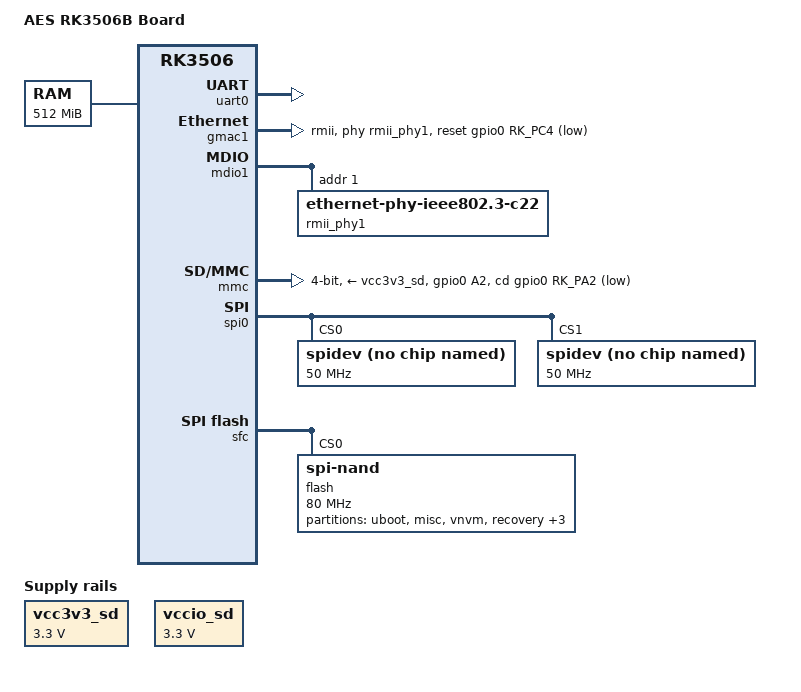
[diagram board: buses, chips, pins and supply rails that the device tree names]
// SPDX-License-Identifier: (GPL-2.0+ OR MIT)
/*
 * Board device tree for the AES RK3506B board (RK3506B SoC, arm32 Cortex-A7).
 * Mainline bring-up: minimal board for earlycon/console on uart0.
 */

/dts-v1/;

#include "rk3506.dtsi"

/ {
	model = "AES RK3506B Board";
	compatible = "aes,rk3506b-aes", "rockchip,rk3506b", "rockchip,rk3506";

	chosen {
		stdout-path = "serial0:1500000n8";
		/* Mount the NAND rootfs (UBI volume "rootfs" on mtd5 — the 6th fixed
		 * partition in the SFC node below) as root; rootwait lets UBI attach
		 * first. `rw` mounts it read-write so writes persist (without it the
		 * kernel mounts the initial root read-only). Harmless for the
		 * initramfs-shell boot variant: if the boot FIT also bundles an
		 * initramfs with /init, the kernel runs that /init and ignores root=. */
		bootargs = "earlycon=uart8250,mmio32,0xff0a0000 console=ttyS0,1500000 ubi.mtd=5 root=ubi0:rootfs rootfstype=ubifs rootwait rw";
	};

	memory@0 {
		device_type = "memory";
		reg = <0x0 0x20000000>;	/* 512 MiB; DRAM base 0x0 (CFG_SYS_SDRAM_BASE=0) */
	};
};

&uart0 {
	status = "okay";
};

/*
 * Ethernet (gmac1, RMII) — the live RJ45 on the AES board (ATK reference:
 * rk3506b-alientek.dtsi). Mainline dwmac-rk has full rk3506 glue (RMII mode +
 * GRF clock regs); the SoC node + eth_rmii1 pinctrl are in rk3506.dtsi. PHY is
 * a generic C22 device at mdio addr 1; reset on GPIO0_PC4 (active-low).
 */
&gmac1 {
	phy-mode = "rmii";
	clock_in_out = "output";

	snps,reset-gpio = <&gpio0 RK_PC4 GPIO_ACTIVE_LOW>;
	snps,reset-active-low;
	snps,reset-delays-us = <0 20000 100000>;

	pinctrl-names = "default";
	pinctrl-0 = <&eth_rmii1_miim_pins
		     &eth_rmii1_tx_bus2_pins
		     &eth_rmii1_rx_bus2_pins
		     &eth_rmii1_clk_pins>;

	phy-handle = <&rmii_phy1>;
	status = "okay";
};

&mdio1 {
	rmii_phy1: phy@1 {
		compatible = "ethernet-phy-ieee802.3-c22";
		reg = <0x1>;
	};
};

/*
 * MMC/SD (dw_mmc) — the SD card slot (ATK reference: rk3506b-alientek.dtsi).
 * Mainline dw_mmc-rockchip probes via the rk3288-dw-mshc fallback compatible.
 * Supplies are always-on fixed 3.3V rails (forge has no PMIC); card-detect on
 * GPIO0_PA2.
 */
&mmc {
	bus-width = <4>;
	cap-sd-highspeed;
	no-1-8-v;

	pinctrl-names = "default";
	pinctrl-0 = <&sdmmc_clk_pins &sdmmc_cmd_pins &sdmmc_bus4_pins &sdmmc_det>;

	cd-gpios = <&gpio0 RK_PA2 GPIO_ACTIVE_LOW>;
	vmmc-supply = <&vcc3v3_sd>;
	vqmmc-supply = <&vccio_sd>;
	status = "okay";
};

/*
 * SPI0 — userspace spidev on CS0/CS1 (ATK reference: rk3506b-alientek.dtsi).
 * Mainline spi-rockchip probes via the rk3066-spi fallback. PIO (no DMA — the
 * vendor 5-cell DMA encoding doesn't bind mainline pl330). spidev children use
 * the whitelisted "rohm,dh2228fv" binding (mainline rejects "rockchip,spidev").
 */
&spi0 {
	status = "okay";
	pinctrl-names = "default";
	pinctrl-0 = <&spi0_csn0_pins &spi0_csn1_pins &spi0_clk_pins>;

	spidev@0 {
		compatible = "rohm,dh2228fv";
		spi-max-frequency = <50000000>;
		reg = <0>;
	};

	spidev@1 {
		compatible = "rohm,dh2228fv";
		spi-max-frequency = <50000000>;
		reg = <1>;
	};
};

&pinctrl {
	sdmmc {
		/omit-if-no-ref/
		sdmmc_det: sdmmc-det {
			rockchip,pins =
				/* sdmmc_det */ <0 RK_PA2 1 &pcfg_pull_up>;
		};
	};
};

/ {
	vcc3v3_sd: vcc3v3-sd-regulator {
		compatible = "regulator-fixed";
		regulator-name = "vcc3v3_sd";
		regulator-always-on;
		regulator-boot-on;
		regulator-min-microvolt = <3300000>;
		regulator-max-microvolt = <3300000>;
	};

	vccio_sd: vccio-sd-regulator {
		compatible = "regulator-fixed";
		regulator-name = "vccio_sd";
		regulator-always-on;
		regulator-boot-on;
		regulator-min-microvolt = <3300000>;
		regulator-max-microvolt = <3300000>;
	};
};

/*
 * SPI-NAND (Winbond W25N04KV, 4Gb) on the SFC. Lets Linux see the NAND as MTD
 * + attach UBI for persistent rootfs (see notes/10). Partition layout mirrors
 * third_party/bringup/parameter-nand-aes.txt (512B-sector units → bytes, 128KB
 * erase-block aligned); the 0x0–0x400000 (0–4MB) loader/idblock area is left
 * unpartitioned. 50 MHz + DLL. Reads are reliable (230-cell window; ro reboot
 * loop clean). RW writes corrupted the page at ALL speeds (24/50/80 MHz) —
 * root cause was the SFC TX-FIFO level mask being 5-bit instead of RK3506's
 * 6-bit (GENMASK(13,8)), so write_fifo miscomputed free slots. Fixed in the
 * driver; this DT is back to the target 50 MHz.
 */
&sfc {
	status = "okay";

	flash@0 {
		compatible = "spi-nand";	/* W25N04KV; mainline winbond.c id (0xaa,0x23) */
		reg = <0>;
		spi-max-frequency = <80000000>;	/* vendor EVB speed (rk3506-evb2-v10). ATK ships at 50M.
						 * 100M unusable: clk_set_rate(100M) lands on 98M PLL tap, DLL finds no window.
						 * 80M -> 75M PLL tap, DLL ok (cell 130, window [90,170]).
						 * Loader weak write on rootfs PEB3/4 is covered by ubiprog first-boot rewrite. */
		spi-rx-bus-width = <4>;
		spi-tx-bus-width = <1>;

		partitions {
			compatible = "fixed-partitions";
			#address-cells = <1>;
			#size-cells = <1>;

			partition@400000 {
				label = "uboot";
				reg = <0x400000 0x400000>;
			};
			partition@800000 {
				label = "misc";
				reg = <0x800000 0x100000>;
			};
			partition@900000 {
				label = "vnvm";
				reg = <0x900000 0x40000>;
			};
			partition@940000 {
				label = "recovery";
				reg = <0x940000 0xe00000>;
			};
			partition@1740000 {
				label = "boot";
				reg = <0x1740000 0x1000000>;
			};
			partition@2740000 {
				label = "rootfs";
				reg = <0x2740000 0xae00000>;
			};
			partition@d540000 {
				label = "userdata";
				reg = <0xd540000 0x12ac0000>;
			};
		};
	};
};
